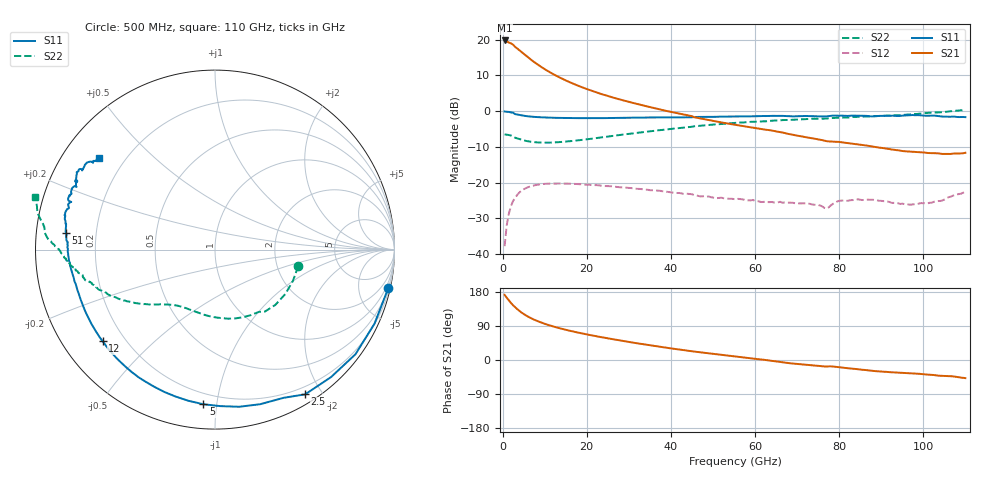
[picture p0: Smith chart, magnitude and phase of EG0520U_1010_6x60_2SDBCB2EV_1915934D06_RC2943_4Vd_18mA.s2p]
!File name = EG0520U_1010_6x60_2SDBCB2EV_1915934D06_RC2943_4Vd_18mA.s2p
!Base file name = EG0520U_1010_6x60_2SDBCB2EV_1915934D06_RC2943
!Date = 8/23/2019
!Time = 1:05 PM
!Test duration(min) = 0.15
!Test = S-Parameters
!MPTS version = 8.91.5
!State File = C:\Data\PNA\20190821205423\S-Parameters_2019-08-23.sta
!Cal File =
!ComputerName = CMPE-LAB-6
!Comments =
!Attenuation = 0
!Z0 = 50
!Input Power(dBm) = -13.00
!Device ID = EG0520U_1010_6x60_2SDBCB2EV
!Row = 29
!Column = 43
!Technology = QPHT09
!Lot/Wafer = 1915934D06
!Gate Size = 360
!Mask = EG0520
!Cal Standards = GaAs BCB
!Cal Kit = EG2306
!Job Number = 20190821205423
!Device Type = FET
!set_Vg(v) = -1.500
!set_Vd(v) = 4.000
!set_Vd(mA) = 18.000
!file_name = EG0520U_1010_6x60_2SDBCB2EV_1915934D06_RC2943_4Vd_18mA.s2p
!Vd(V) = 4.000
!Vd(mA) = 17.839
!Vg(V) = -0.646
!Vg(mA) = -0.010
# GHz  S  DB  R  50
!%	Freq(GHz)  s11(dB)  s11(deg)  s21(dB)  s21(deg)  s12(dB)  s12(deg)  s22(dB)  s22(deg)
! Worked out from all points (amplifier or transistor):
!   220 points, 500 MHz to 110 GHz, reference 50 ohm
!   highest |S21| = 19.8 dB at 500 MHz (marker M1)
!   |S21| within 3 dB of that: start of sweep to 4.267 GHz
!   unconditionally stable (mu >= 1): 36.06 GHz to 96.52 GHz
!   at 18.5 GHz: K = 0.52, MSG = 13.7 dB, |S12| = -20.4 dB
!   at 55.5 GHz: K = 1.52, MAG = 6.1 dB, |S12| = -24.7 dB
!   at 110 GHz: K = -1.57, MSG = 5.4 dB, |S12| = -22.5 dB
!   S11 on the Smith chart (normalised r, x): 500 MHz: 0.46, -9.07; 2.5 GHz: 0.11, -1.80; 5 GHz: 0.13, -0.92; 12 GHz: 0.12, -0.35; 51 GHz: 0.09, +0.06; 110 GHz: 0.11, +0.34
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0.5  -0.10 -12.6  19.80 172.0  -37.80 80.5  -6.50 -11.3
1  -0.18 -24.9  19.50 164.2  -31.97 74.5  -6.60 -21.8
2  -0.35 -47.6  18.99 150.6  -26.63 61.7  -6.82 -42.5
2.5  -0.45 -58.1  18.62 144.6  -25.16 56.3  -7.07 -51.2
3  -0.82 -65.2  17.99 139.3  -24.29 52.0  -7.44 -54.8
3.5  -0.94 -73.7  17.55 134.3  -23.44 47.6  -7.63 -61.8
4.5  -1.19 -88.1  16.56 125.4  -22.29 39.9  -7.98 -74.1
5  -1.27 -94.3  16.08 121.6  -21.89 36.7  -8.14 -79.3
6  -1.44 -105.1  15.12 114.8  -21.32 31.3  -8.42 -88.2
7.5  -1.60 -117.7  13.76 106.4  -20.80 24.7  -8.66 -98.6
9.5  -1.74 -129.8  12.15 97.7  -20.41 18.2  -8.81 -107.9
12  -1.85 -140.8  10.40 88.7  -20.26 12.0  -8.78 -116.4
15  -1.91 -150.1  8.62 79.8  -20.29 6.5  -8.53 -123.3
19  -1.95 -158.7  6.64 69.9  -20.47 1.1  -8.02 -129.5
26.5  -1.91 -168.8  3.73 54.2  -21.13 -5.4  -6.88 -137.4
37  -1.74 -177.8  0.60 35.3  -22.26 -10.2  -5.37 -146.6
51  -1.56 173.6  -2.94 14.8  -24.35 -12.2  -3.71 -158.5
55.5  -1.52 171.0  -3.85 9.1  -24.65 -11.7  -3.25 -161.4
73.5  -1.40 162.2  -7.57 -14.0  -26.11 -13.5  -2.11 -171.5
92  -1.30 153.5  -10.62 -32.1  -25.44 -23.2  -1.23 -179.9
101  -1.28 148.8  -11.70 -38.5  -25.82 -19.7  -0.49 175.1
110  -1.67 141.7  -11.65 -47.8  -22.50 -25.4  0.39 163.8
